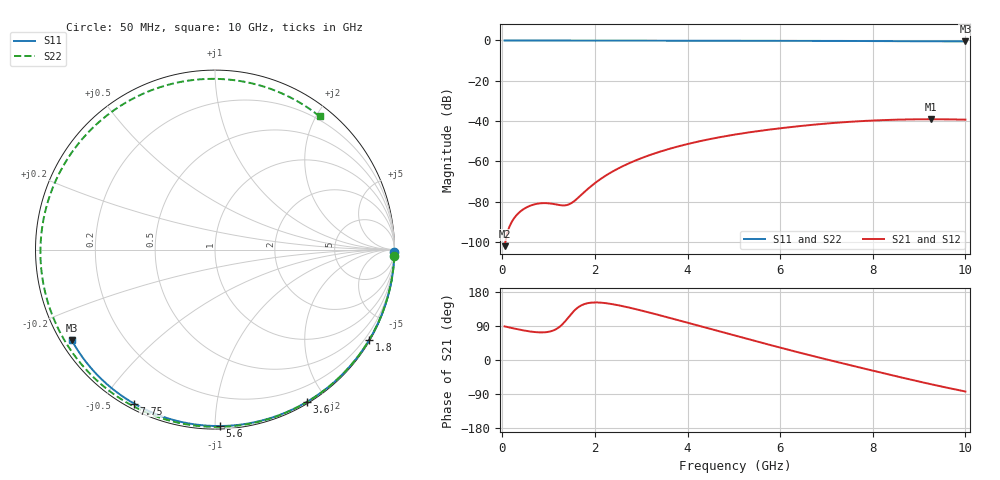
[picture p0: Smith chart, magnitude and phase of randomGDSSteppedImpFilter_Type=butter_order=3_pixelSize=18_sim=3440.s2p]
! freq	dB(S11)	phase(S11)	dB(S12)	phase(S12)
!  dB(S21)	phase(S21)	dB(S22)	phase(S22)
!S-par simulation data
#  GHz  S  DB  R 50
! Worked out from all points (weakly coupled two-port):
!   200 points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, 50 MHz to 10 GHz, reference 50 ohm
!   highest |S21| = -39.11 dB at 9.25 GHz (marker M1); lowest = -102.1 dB at 50 MHz (marker M2)
!   lowest |S11| = -0.5 dB at 10 GHz (marker M3), VSWR 35.05, Z = 1.55 - j14.5 ohm
!   |S11| at or under -10 dB: nowhere
!   |S22| runs from -0.5 to 0.0 dB; largest |S21 - S12| = 0
!   S11 on the Smith chart (normalised r, x): 50 MHz: open; 1.8 GHz: 0.03, -3.70; 3.6 GHz: 0.02, -1.77; 5.6 GHz: 0.02, -1.03; 7.75 GHz: 0.02, -0.60; 10 GHz: 0.03, -0.29
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0.05  -0.00 -0.9  -102.11 88.7  -102.11 88.7  -0.00 -2.0
0.7  -0.02 -11.9  -81.32 73.8  -81.32 73.8  -0.04 -27.5
1.1  -0.02 -18.6  -81.13 77.9  -81.13 77.9  -0.05 -42.8
1.5  -0.03 -25.3  -80.62 123.2  -80.62 123.2  -0.07 -57.7
1.55  -0.03 -26.1  -79.80 129.8  -79.80 129.8  -0.07 -59.5
1.75  -0.04 -29.4  -75.70 146.5  -75.70 146.5  -0.08 -66.7
1.8  -0.04 -30.2  -74.66 148.6  -74.66 148.6  -0.08 -68.4
2.15  -0.05 -36.0  -68.34 151.1  -68.34 151.1  -0.10 -80.6
2.5  -0.05 -41.6  -63.58 144.6  -63.58 144.6  -0.11 -92.3
2.95  -0.06 -48.8  -58.90 132.2  -58.90 132.2  -0.12 -106.7
3.4  -0.07 -55.9  -55.24 118.1  -55.24 118.1  -0.14 -120.5
3.6  -0.08 -59.0  -53.85 111.6  -53.85 111.6  -0.15 -126.4
4.35  -0.10 -70.3  -49.59 86.8  -49.59 86.8  -0.18 -147.9
5.05  -0.12 -80.6  -46.61 63.6  -46.61 63.6  -0.21 -167.1
5.6  -0.15 -88.5  -44.75 45.6  -44.75 45.6  -0.24 178.0
6.15  -0.17 -96.2  -43.19 27.9  -43.19 27.9  -0.28 163.2
6.7  -0.20 -103.7  -41.86 10.7  -41.86 10.7  -0.31 148.3
7.75  -0.27 -117.8  -40.04 -20.7  -40.04 -20.7  -0.38 118.9
8.35  -0.32 -125.7  -39.43 -38.3  -39.43 -38.3  -0.41 101.5
8.8  -0.36 -131.6  -39.18 -51.2  -39.18 -51.2  -0.44 88.2
9.25  -0.41 -137.5  -39.11 -63.7  -39.11 -63.7  -0.46 74.6
10  -0.50 -147.6  -39.31 -83.1  -39.31 -83.1  -0.50 51.9
